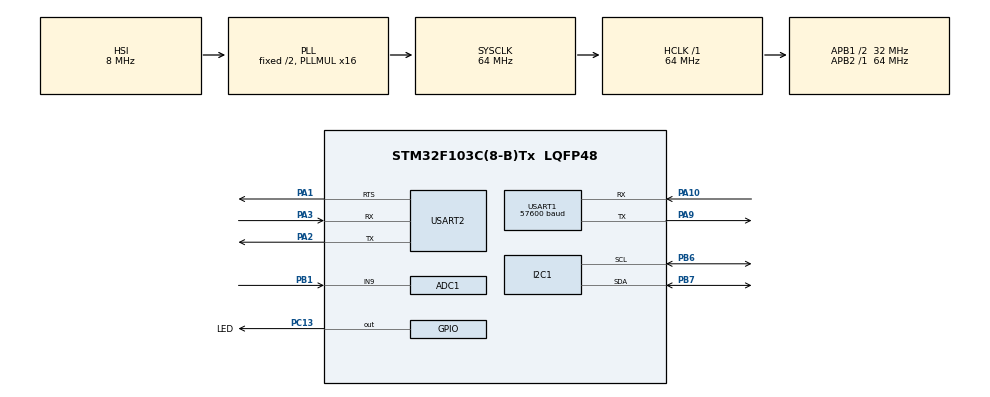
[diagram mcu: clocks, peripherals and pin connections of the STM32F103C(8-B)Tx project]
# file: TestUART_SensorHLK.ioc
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ADC1.Channel-0\#ChannelRegularConversion=ADC_CHANNEL_9
ADC1.NbrOfConversionFlag=1
ADC1.Rank-0\#ChannelRegularConversion=1
ADC1.SamplingTime-0\#ChannelRegularConversion=ADC_SAMPLETIME_1CYCLE_5
ADC1.master=1
Dma.Request0=USART1_RX
Dma.USART1_RX.0.Direction=DMA_PERIPH_TO_MEMORY
Dma.USART1_RX.0.Instance=DMA1_Channel5
Dma.USART1_RX.0.MemDataAlignment=DMA_MDATAALIGN_BYTE
Dma.USART1_RX.0.MemInc=DMA_MINC_ENABLE
Dma.USART1_RX.0.Mode=DMA_NORMAL
Dma.USART1_RX.0.PeriphDataAlignment=DMA_PDATAALIGN_BYTE
Dma.USART1_RX.0.PeriphInc=DMA_PINC_DISABLE
Dma.USART1_RX.0.Priority=DMA_PRIORITY_LOW
Mcu.Family=STM32F1
Mcu.Name=STM32F103C(8-B)Tx
Mcu.Package=LQFP48
NVIC.DMA1_Channel5_IRQn=true\:0\:0\:false\:false\:true\:false\:true\:true
NVIC.PriorityGroup=NVIC_PRIORITYGROUP_4
NVIC.TIM4_IRQn=true\:0\:0\:false\:false\:true\:true\:true\:true
NVIC.USART1_IRQn=true\:0\:0\:false\:false\:true\:true\:true\:true
PA1.Mode=RTS_Only
PA1.Signal=USART2_RTS
PA10.Mode=Asynchronous
PA10.Signal=USART1_RX
PA13.Mode=Serial_Wire
PA13.Signal=SYS_JTMS-SWDIO
PA14.Mode=Serial_Wire
PA14.Signal=SYS_JTCK-SWCLK
PA2.Mode=Asynchronous
PA2.Signal=USART2_TX
PA3.Mode=Asynchronous
PA3.Signal=USART2_RX
PA9.Mode=Asynchronous
PA9.Signal=USART1_TX
PB1.Signal=ADCx_IN9
PB6.Mode=I2C
PB6.Signal=I2C1_SCL
PB7.Mode=I2C
PB7.Signal=I2C1_SDA
PC13-TAMPER-RTC.GPIO_Label=LED
PC13-TAMPER-RTC.PinState=GPIO_PIN_SET
PC13-TAMPER-RTC.Signal=GPIO_Output
PD0-OSC_IN.Mode=HSE-External-Oscillator
PD0-OSC_IN.Signal=RCC_OSC_IN
PD1-OSC_OUT.Mode=HSE-External-Oscillator
PD1-OSC_OUT.Signal=RCC_OSC_OUT
ProjectManager.HeapSize=0x200
ProjectManager.StackSize=0x400
ProjectManager.TargetToolchain=CMake
RCC.ADCPresc=RCC_ADCPCLK2_DIV6
RCC.AHBFreq_Value=64000000
RCC.APB1CLKDivider=RCC_HCLK_DIV2
RCC.APB1Freq_Value=32000000
RCC.APB1TimFreq_Value=64000000
RCC.APB2Freq_Value=64000000
RCC.APB2TimFreq_Value=64000000
RCC.HCLKFreq_Value=64000000
RCC.PLLMUL=RCC_PLL_MUL16
RCC.SYSCLKFreq_VALUE=64000000
RCC.SYSCLKSource=RCC_SYSCLKSOURCE_PLLCLK
RCC.USBFreq_Value=64000000
SH.ADCx_IN9.0=ADC1_IN9,IN9
TIM4.Period=1000-1
TIM4.Prescaler=64-1
USART1.BaudRate=57600
USART1.VirtualMode=VM_ASYNC
USART2.VirtualMode=VM_ASYNC
VP_IWDG_VS_IWDG.Mode=IWDG_Activate
VP_TIM4_VS_ClockSourceINT.Mode=Internal
board=custom

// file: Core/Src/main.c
/* USER CODE BEGIN Header */
/**
  ******************************************************************************
  * @file           : main.c
  * @brief          : Main program body
  ******************************************************************************
  * @attention
  *
  * Copyright (c) 2026 STMicroelectronics.
  * All rights reserved.
  *
  * This software is licensed under terms that can be found in the LICENSE file
  * in the root directory of this software component.
  * If no LICENSE file comes with this software, it is provided AS-IS.
  *
  ******************************************************************************
  */
/* USER CODE END Header */
#include "main.h"

/* USER CODE BEGIN Includes */
#include "stm32f1xx_hal_gpio.h"
#include "string.h"
#include "stdbool.h"
/* USER CODE END Includes */

/* USER CODE BEGIN PTD */
#define FRAME_SIZE     14
#define DMA_BUF_SIZE   128     // tăng lên để tránh overflow
#define RING_SIZE      256     // lớn hơn để không mất data

UART_HandleTypeDef huart1;

uint8_t dma_buf[DMA_BUF_SIZE];

// Ring buffer
uint8_t ring_buf[RING_SIZE];
volatile uint16_t ring_head = 0;
volatile uint16_t ring_tail = 0;

// Double buffer tránh race condition
uint8_t frame_buf[FRAME_SIZE];
uint8_t frame_shadow[FRAME_SIZE];

volatile bool frame_ready = false;
volatile bool flag_turnon = false;

static uint16_t old_pos = 0;
/* USER CODE END PTD */

ADC_HandleTypeDef hadc1;

I2C_HandleTypeDef hi2c1;

IWDG_HandleTypeDef hiwdg;

TIM_HandleTypeDef htim4;

UART_HandleTypeDef huart1;
UART_HandleTypeDef huart2;
DMA_HandleTypeDef hdma_usart1_rx;

void SystemClock_Config(void);
static void MX_GPIO_Init(void);
static void MX_DMA_Init(void);
static void MX_ADC1_Init(void);
static void MX_I2C1_Init(void);
static void MX_USART1_UART_Init(void);
static void MX_USART2_UART_Init(void);
static void MX_IWDG_Init(void);
static void MX_TIM4_Init(void);

/* USER CODE BEGIN 0 */
static void Ring_Push(uint8_t data)
{
    uint16_t next = (ring_head + 1) % RING_SIZE;

    if (next == ring_tail)
    {
        // FULL → bỏ byte cũ (anti overflow)
        ring_tail = (ring_tail + 1) % RING_SIZE;
    }

    ring_buf[ring_head] = data;
    ring_head = next;
}

static int Ring_Pop(uint8_t *data)
{
    if (ring_head == ring_tail) return 0;

    *data = ring_buf[ring_tail];
    ring_tail = (ring_tail + 1) % RING_SIZE;
    return 1;
}

void UART1_DMA_Start(void)
{
    HAL_UART_Receive_DMA(&huart1, dma_buf, DMA_BUF_SIZE);
    __HAL_UART_ENABLE_IT(&huart1, UART_IT_IDLE);
}

void Process_RingBuffer(void)
{
    static uint8_t window[FRAME_SIZE];
    static uint8_t count = 0;

    uint8_t byte;

    while (Ring_Pop(&byte))
    {
        // shift window
        for (int i = 0; i < FRAME_SIZE - 1; i++)
            window[i] = window[i + 1];

        window[FRAME_SIZE - 1] = byte;

        if (count < FRAME_SIZE)
        {
            count++;
            continue;
        }

        // Check header
        if (window[0] == 0x33 &&
            window[1] == 0x01 &&
            window[2] == 0x5F &&
            window[3] == 0x00 &&
            window[4] == 0x0F)
        {
            // copy đảo vào shadow buffer
            for (int i = 0; i < FRAME_SIZE; i++)
            {
                frame_shadow[FRAME_SIZE - 1 - i] = window[i];
            }

            // critical section (tránh lỗi khi main đọc)
            __disable_irq();
            memcpy(frame_buf, frame_shadow, FRAME_SIZE);
            frame_ready = true;
            __enable_irq();
        }
    }
}

void UART1_IdleHandler(void)
{
    uint16_t pos = DMA_BUF_SIZE - __HAL_DMA_GET_COUNTER(huart1.hdmarx);

    if (pos != old_pos)
    {
        if (pos > old_pos)
        {
            for (uint16_t i = old_pos; i < pos; i++)
                Ring_Push(dma_buf[i]);
        }
        else
        {
            for (uint16_t i = old_pos; i < DMA_BUF_SIZE; i++)
                Ring_Push(dma_buf[i]);

            for (uint16_t i = 0; i < pos; i++)
                Ring_Push(dma_buf[i]);
        }

        old_pos = pos;
    }
}
/* USER CODE END 0 */

int main(void)
{

  /* MCU Configuration--------------------------------------------------------*/

  /* Reset of all peripherals, Initializes the Flash interface and the Systick. */
  HAL_Init();

  /* Configure the system clock */
  SystemClock_Config();

  /* Initialize all configured peripherals */
  MX_GPIO_Init();
  MX_DMA_Init();
  MX_ADC1_Init();
  MX_I2C1_Init();
  MX_USART1_UART_Init();
  MX_USART2_UART_Init();
  MX_IWDG_Init();
  MX_TIM4_Init();

  /* Infinite loop */
  /* USER CODE BEGIN WHILE */
  while (1)
  {
    HAL_IWDG_Refresh(&hiwdg);
    /* USER CODE END WHILE */

    /* USER CODE BEGIN 3 */
     Process_RingBuffer();

    if (frame_ready)
    {
        frame_ready = false;

        uint8_t byte_LightOutside = frame_buf[8];
        uint8_t byte_motion       = frame_buf[11];

        if (byte_LightOutside > 70)
        {
          if (byte_motion > 150)
          {
            HAL_GPIO_WritePin(LED_GPIO_Port, LED_Pin, GPIO_PIN_SET);
          }
        }else
        {
          HAL_GPIO_WritePin(LED_GPIO_Port, LED_Pin, GPIO_PIN_RESET);
        }

    }
  }
  /* USER CODE END 3 */
}

void SystemClock_Config(void)
{
  RCC_OscInitTypeDef RCC_OscInitStruct = {0};
  RCC_ClkInitTypeDef RCC_ClkInitStruct = {0};
  RCC_PeriphCLKInitTypeDef PeriphClkInit = {0};

  /** Initializes the RCC Oscillators according to the specified parameters
  * in the RCC_OscInitTypeDef structure.
  */
  RCC_OscInitStruct.OscillatorType = RCC_OSCILLATORTYPE_HSI|RCC_OSCILLATORTYPE_LSI;
  RCC_OscInitStruct.HSIState = RCC_HSI_ON;
  RCC_OscInitStruct.HSICalibrationValue = RCC_HSICALIBRATION_DEFAULT;
  RCC_OscInitStruct.LSIState = RCC_LSI_ON;
  RCC_OscInitStruct.PLL.PLLState = RCC_PLL_ON;
  RCC_OscInitStruct.PLL.PLLSource = RCC_PLLSOURCE_HSI_DIV2;
  RCC_OscInitStruct.PLL.PLLMUL = RCC_PLL_MUL16;
  if (HAL_RCC_OscConfig(&RCC_OscInitStruct) != HAL_OK)
  {
    Error_Handler();
  }

  /** Initializes the CPU, AHB and APB buses clocks
  */
  RCC_ClkInitStruct.ClockType = RCC_CLOCKTYPE_HCLK|RCC_CLOCKTYPE_SYSCLK
                              |RCC_CLOCKTYPE_PCLK1|RCC_CLOCKTYPE_PCLK2;
  RCC_ClkInitStruct.SYSCLKSource = RCC_SYSCLKSOURCE_PLLCLK;
  RCC_ClkInitStruct.AHBCLKDivider = RCC_SYSCLK_DIV1;
  RCC_ClkInitStruct.APB1CLKDivider = RCC_HCLK_DIV2;
  RCC_ClkInitStruct.APB2CLKDivider = RCC_HCLK_DIV1;

  if (HAL_RCC_ClockConfig(&RCC_ClkInitStruct, FLASH_LATENCY_2) != HAL_OK)
  {
    Error_Handler();
  }
  PeriphClkInit.PeriphClockSelection = RCC_PERIPHCLK_ADC;
  PeriphClkInit.AdcClockSelection = RCC_ADCPCLK2_DIV6;
  if (HAL_RCCEx_PeriphCLKConfig(&PeriphClkInit) != HAL_OK)
  {
    Error_Handler();
  }
}

static void MX_ADC1_Init(void)
{

  ADC_ChannelConfTypeDef sConfig = {0};

  /** Common config
  */
  hadc1.Instance = ADC1;
  hadc1.Init.ScanConvMode = ADC_SCAN_DISABLE;
  hadc1.Init.ContinuousConvMode = DISABLE;
  hadc1.Init.DiscontinuousConvMode = DISABLE;
  hadc1.Init.ExternalTrigConv = ADC_SOFTWARE_START;
  hadc1.Init.DataAlign = ADC_DATAALIGN_RIGHT;
  hadc1.Init.NbrOfConversion = 1;
  if (HAL_ADC_Init(&hadc1) != HAL_OK)
  {
    Error_Handler();
  }

  /** Configure Regular Channel
  */
  sConfig.Channel = ADC_CHANNEL_9;
  sConfig.Rank = ADC_REGULAR_RANK_1;
  sConfig.SamplingTime = ADC_SAMPLETIME_1CYCLE_5;
  if (HAL_ADC_ConfigChannel(&hadc1, &sConfig) != HAL_OK)
  {
    Error_Handler();
  }

}

static void MX_I2C1_Init(void)
{

  hi2c1.Instance = I2C1;
  hi2c1.Init.ClockSpeed = 100000;
  hi2c1.Init.DutyCycle = I2C_DUTYCYCLE_2;
  hi2c1.Init.OwnAddress1 = 0;
  hi2c1.Init.AddressingMode = I2C_ADDRESSINGMODE_7BIT;
  hi2c1.Init.DualAddressMode = I2C_DUALADDRESS_DISABLE;
  hi2c1.Init.OwnAddress2 = 0;
  hi2c1.Init.GeneralCallMode = I2C_GENERALCALL_DISABLE;
  hi2c1.Init.NoStretchMode = I2C_NOSTRETCH_DISABLE;
  if (HAL_I2C_Init(&hi2c1) != HAL_OK)
  {
    Error_Handler();
  }

}

static void MX_IWDG_Init(void)
{

  hiwdg.Instance = IWDG;
  hiwdg.Init.Prescaler = IWDG_PRESCALER_4;
  hiwdg.Init.Reload = 4095;
  if (HAL_IWDG_Init(&hiwdg) != HAL_OK)
  {
    Error_Handler();
  }

}

static void MX_TIM4_Init(void)
{

  TIM_ClockConfigTypeDef sClockSourceConfig = {0};
  TIM_MasterConfigTypeDef sMasterConfig = {0};

  htim4.Instance = TIM4;
  htim4.Init.Prescaler = 64-1;
  htim4.Init.CounterMode = TIM_COUNTERMODE_UP;
  htim4.Init.Period = 1000-1;
  htim4.Init.ClockDivision = TIM_CLOCKDIVISION_DIV1;
  htim4.Init.AutoReloadPreload = TIM_AUTORELOAD_PRELOAD_DISABLE;
  if (HAL_TIM_Base_Init(&htim4) != HAL_OK)
  {
    Error_Handler();
  }
  sClockSourceConfig.ClockSource = TIM_CLOCKSOURCE_INTERNAL;
  if (HAL_TIM_ConfigClockSource(&htim4, &sClockSourceConfig) != HAL_OK)
  {
    Error_Handler();
  }
  sMasterConfig.MasterOutputTrigger = TIM_TRGO_RESET;
  sMasterConfig.MasterSlaveMode = TIM_MASTERSLAVEMODE_DISABLE;
  if (HAL_TIMEx_MasterConfigSynchronization(&htim4, &sMasterConfig) != HAL_OK)
  {
    Error_Handler();
  }

}

static void MX_USART1_UART_Init(void)
{

  huart1.Instance = USART1;
  huart1.Init.BaudRate = 57600;
  huart1.Init.WordLength = UART_WORDLENGTH_8B;
  huart1.Init.StopBits = UART_STOPBITS_1;
  huart1.Init.Parity = UART_PARITY_NONE;
  huart1.Init.Mode = UART_MODE_TX_RX;
  huart1.Init.HwFlowCtl = UART_HWCONTROL_NONE;
  huart1.Init.OverSampling = UART_OVERSAMPLING_16;
  if (HAL_UART_Init(&huart1) != HAL_OK)
  {
    Error_Handler();
  }

}

static void MX_USART2_UART_Init(void)
{

  huart2.Instance = USART2;
  huart2.Init.BaudRate = 115200;
  huart2.Init.WordLength = UART_WORDLENGTH_8B;
  huart2.Init.StopBits = UART_STOPBITS_1;
  huart2.Init.Parity = UART_PARITY_NONE;
  huart2.Init.Mode = UART_MODE_TX_RX;
  huart2.Init.HwFlowCtl = UART_HWCONTROL_RTS;
  huart2.Init.OverSampling = UART_OVERSAMPLING_16;
  if (HAL_UART_Init(&huart2) != HAL_OK)
  {
    Error_Handler();
  }

}

static void MX_DMA_Init(void)
{

  /* DMA controller clock enable */
  __HAL_RCC_DMA1_CLK_ENABLE();

  /* DMA interrupt init */
  /* DMA1_Channel5_IRQn interrupt configuration */
  HAL_NVIC_SetPriority(DMA1_Channel5_IRQn, 0, 0);
  HAL_NVIC_EnableIRQ(DMA1_Channel5_IRQn);

}

static void MX_GPIO_Init(void)
{
  GPIO_InitTypeDef GPIO_InitStruct = {0};

  /* GPIO Ports Clock Enable */
  __HAL_RCC_GPIOC_CLK_ENABLE();
  __HAL_RCC_GPIOD_CLK_ENABLE();
  __HAL_RCC_GPIOA_CLK_ENABLE();
  __HAL_RCC_GPIOB_CLK_ENABLE();

  /*Configure GPIO pin Output Level */
  HAL_GPIO_WritePin(LED_GPIO_Port, LED_Pin, GPIO_PIN_SET);

  /*Configure GPIO pin : LED_Pin */
  GPIO_InitStruct.Pin = LED_Pin;
  GPIO_InitStruct.Mode = GPIO_MODE_OUTPUT_PP;
  GPIO_InitStruct.Pull = GPIO_NOPULL;
  GPIO_InitStruct.Speed = GPIO_SPEED_FREQ_LOW;
  HAL_GPIO_Init(LED_GPIO_Port, &GPIO_InitStruct);

}

void Error_Handler(void)
{
  __disable_irq();
  while (1)
  {
  }
}
